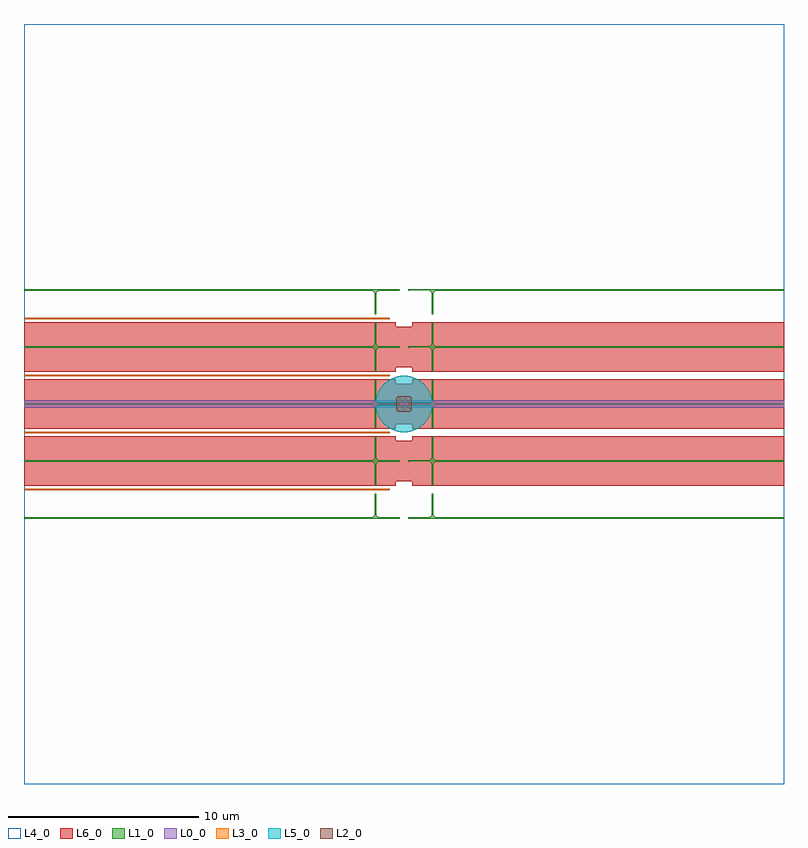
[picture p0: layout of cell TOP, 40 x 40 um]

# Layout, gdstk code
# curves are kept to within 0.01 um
import gdstk
lib = gdstk.Library(unit=1e-6, precision=1e-09)
def R(c, l, rs):  # rectangles x0, y0, x1, y1
    for r in rs: c.add(gdstk.rectangle(r[:2], r[2:], *l))
def P(c, l, *ps):  # polygons
    for p in ps: c.add(gdstk.Polygon(p, *l))
L0_0 = (0, 0)
L1_0 = (1, 0)
L2_0 = (2, 0)
L3_0 = (3, 0)
L4_0 = (4, 0)
L5_0 = (5, 0)
L6_0 = (6, 0)

top = lib.new_cell('TOP')
R(top, L0_0, [(-20,-0.194,20,0.194)])
P(top, L1_0, [(-19.957,-6.05),(-20,-6.007),(-19.987,-5.966),(-19.957,-5.95),(-1.656,-5.95),(-1.586,-5.921),(-1.551,-5.855),(-1.55,-4.768),(-1.507,-4.725),(-1.466,-4.738),(-1.45,-4.768),(-1.45,-5.844),(-1.414,-5.921),(-1.344,-5.95),(-0.268,-5.95),(-0.225,-5.993),(-0.238,-6.034),(-0.268,-6.05)],
  [(0.268,-6.05),(0.225,-6.007),(0.238,-5.966),(0.268,-5.95),(1.344,-5.95),(1.421,-5.914),(1.45,-5.844),(1.45,-4.768),(1.493,-4.725),(1.534,-4.738),(1.55,-4.768),(1.551,-5.855),(1.586,-5.921),(1.656,-5.95),(19.957,-5.95),(20,-5.993),(19.987,-6.034),(19.957,-6.05)],
  [(-1.507,-4.275),(-1.55,-4.232),(-1.551,-3.145),(-1.586,-3.079),(-1.656,-3.05),(-19.957,-3.05),(-19.987,-3.034),(-20,-2.993),(-19.957,-2.95),(-1.656,-2.95),(-1.586,-2.921),(-1.551,-2.855),(-1.55,-1.768),(-1.534,-1.738),(-1.493,-1.725),(-1.45,-1.768),(-1.45,-2.844),(-1.421,-2.914),(-1.344,-2.95),(-0.268,-2.95),(-0.238,-2.966),(-0.225,-3.007),(-0.268,-3.05),(-1.344,-3.05),(-1.414,-3.079),(-1.45,-3.156),(-1.45,-4.232),(-1.466,-4.262)],
  [(1.493,-4.275),(1.45,-4.232),(1.45,-3.156),(1.421,-3.086),(1.344,-3.05),(0.268,-3.05),(0.225,-3.007),(0.238,-2.966),(0.268,-2.95),(1.344,-2.95),(1.421,-2.914),(1.45,-2.844),(1.45,-1.768),(1.493,-1.725),(1.534,-1.738),(1.55,-1.768),(1.551,-2.855),(1.586,-2.921),(1.656,-2.95),(19.957,-2.95),(20,-2.993),(19.987,-3.034),(19.957,-3.05),(1.656,-3.05),(1.586,-3.079),(1.551,-3.145),(1.55,-4.232),(1.534,-4.262)],
  [(-1.507,-1.275),(-1.55,-1.232),(-1.551,-0.145),(-1.586,-0.079),(-1.656,-0.05),(-19.957,-0.05),(-19.987,-0.034),(-20,0.007),(-19.957,0.05),(-1.656,0.05),(-1.586,0.079),(-1.551,0.145),(-1.55,1.232),(-1.534,1.262),(-1.493,1.275),(-1.45,1.232),(-1.45,0.156),(-1.421,0.086),(-1.344,0.05),(-0.268,0.05),(-0.238,0.034),(-0.225,-0.007),(-0.268,-0.05),(-1.344,-0.05),(-1.414,-0.079),(-1.45,-0.156),(-1.45,-1.232),(-1.466,-1.262)],
  [(1.493,-1.275),(1.45,-1.232),(1.45,-0.156),(1.421,-0.086),(1.344,-0.05),(0.268,-0.05),(0.225,-0.007),(0.238,0.034),(0.268,0.05),(1.344,0.05),(1.421,0.086),(1.45,0.156),(1.45,1.232),(1.493,1.275),(1.534,1.262),(1.55,1.232),(1.551,0.145),(1.586,0.079),(1.656,0.05),(19.957,0.05),(20,0.007),(19.987,-0.034),(19.957,-0.05),(1.656,-0.05),(1.586,-0.079),(1.551,-0.145),(1.55,-1.232),(1.534,-1.262)],
  [(-1.507,1.725),(-1.55,1.768),(-1.551,2.855),(-1.586,2.921),(-1.656,2.95),(-19.957,2.95),(-19.987,2.966),(-20,3.007),(-19.957,3.05),(-1.656,3.05),(-1.586,3.079),(-1.551,3.145),(-1.55,4.232),(-1.534,4.262),(-1.493,4.275),(-1.45,4.232),(-1.45,3.156),(-1.421,3.086),(-1.344,3.05),(-0.268,3.05),(-0.238,3.034),(-0.225,2.993),(-0.268,2.95),(-1.344,2.95),(-1.414,2.921),(-1.45,2.844),(-1.45,1.768),(-1.466,1.738)],
  [(1.493,1.725),(1.45,1.768),(1.45,2.844),(1.421,2.914),(1.344,2.95),(0.268,2.95),(0.225,2.993),(0.238,3.034),(0.268,3.05),(1.344,3.05),(1.421,3.086),(1.45,3.156),(1.45,4.232),(1.493,4.275),(1.534,4.262),(1.55,4.232),(1.551,3.145),(1.586,3.079),(1.656,3.05),(19.957,3.05),(20,3.007),(19.987,2.966),(19.957,2.95),(1.656,2.95),(1.586,2.921),(1.551,2.855),(1.55,1.768),(1.534,1.738)],
  [(-1.507,4.725),(-1.55,4.768),(-1.551,5.855),(-1.586,5.921),(-1.656,5.95),(-19.957,5.95),(-19.987,5.966),(-20,6.007),(-19.957,6.05),(-0.268,6.05),(-0.225,6.007),(-0.238,5.966),(-0.268,5.95),(-1.344,5.95),(-1.421,5.914),(-1.45,5.844),(-1.45,4.768),(-1.466,4.738)],
  [(1.493,4.725),(1.45,4.768),(1.45,5.844),(1.421,5.914),(1.344,5.95),(0.268,5.95),(0.225,5.993),(0.238,6.034),(0.268,6.05),(19.957,6.05),(20,6.007),(19.987,5.966),(19.957,5.95),(1.656,5.95),(1.586,5.921),(1.551,5.855),(1.55,4.768),(1.534,4.738)])
P(top, L2_0, [(-0.305,-0.4),(-0.367,-0.374),(-0.4,-0.305),(-0.4,0.305),(-0.374,0.367),(-0.305,0.4),(0.305,0.4),(0.367,0.374),(0.4,0.305),(0.4,-0.305),(0.374,-0.367),(0.305,-0.4)])
P(top, L3_0, [(-19.957,-4.55),(-20,-4.507),(-19.987,-4.466),(-19.957,-4.45),(-0.793,-4.45),(-0.75,-4.493),(-0.763,-4.534),(-0.793,-4.55)],
  [(-19.957,-1.55),(-20,-1.507),(-19.987,-1.466),(-19.957,-1.45),(-0.793,-1.45),(-0.75,-1.493),(-0.763,-1.534),(-0.793,-1.55)],
  [(-19.957,1.45),(-20,1.493),(-19.987,1.534),(-19.957,1.55),(-0.793,1.55),(-0.75,1.507),(-0.763,1.466),(-0.793,1.45)],
  [(-19.957,4.45),(-20,4.493),(-19.987,4.534),(-19.957,4.55),(-0.793,4.55),(-0.75,4.507),(-0.763,4.466),(-0.793,4.45)])
R(top, L4_0, [(-20,-20,20,20)])
P(top, L5_0, [(-0.037,-1.49),(-0.327,-1.454),(-0.604,-1.363),(-0.858,-1.219),(-1.028,-1.079),(-1.219,-0.858),(-1.363,-0.604),(-1.454,-0.327),(-1.488,-0.065),(1.488,-0.065),(1.454,-0.327),(1.363,-0.604),(1.219,-0.858),(1.028,-1.079),(0.797,-1.259),(0.536,-1.391),(0.255,-1.469)],
  [(-1.488,0.065),(-1.454,0.327),(-1.363,0.604),(-1.219,0.858),(-1.028,1.079),(-0.858,1.219),(-0.604,1.363),(-0.327,1.454),(-0.037,1.49),(0.255,1.469),(0.536,1.391),(0.797,1.259),(1.028,1.079),(1.219,0.858),(1.363,0.604),(1.454,0.327),(1.488,0.065)])
P(top, L6_0, [(-20,-4.305),(-20,-1.694),(-0.44,-1.694),(-0.431,-1.883),(-0.391,-1.926),(-0.345,-1.94),(0.374,-1.934),(0.414,-1.907),(0.437,-1.864),(0.44,-1.694),(20,-1.694),(20,-4.305),(0.44,-4.305),(0.431,-4.117),(0.391,-4.074),(0.345,-4.06),(-0.374,-4.066),(-0.414,-4.093),(-0.437,-4.136),(-0.44,-4.305)],
  [(-20,-1.305),(-20,1.305),(-0.44,1.305),(-0.431,1.117),(-0.391,1.074),(-0.345,1.06),(0.374,1.066),(0.414,1.093),(0.437,1.136),(0.44,1.305),(20,1.305),(20,-1.305),(0.44,-1.305),(0.431,-1.117),(0.391,-1.074),(0.345,-1.06),(-0.374,-1.066),(-0.414,-1.093),(-0.437,-1.136),(-0.44,-1.305)],
  [(-20,1.694),(-20,4.305),(-0.44,4.305),(-0.431,4.117),(-0.391,4.074),(-0.345,4.06),(0.374,4.066),(0.414,4.093),(0.437,4.136),(0.44,4.305),(20,4.305),(20,1.694),(0.44,1.694),(0.431,1.883),(0.391,1.926),(0.345,1.94),(-0.374,1.934),(-0.414,1.907),(-0.437,1.864),(-0.44,1.694)])

lib.write_gds('TOP.gds')
